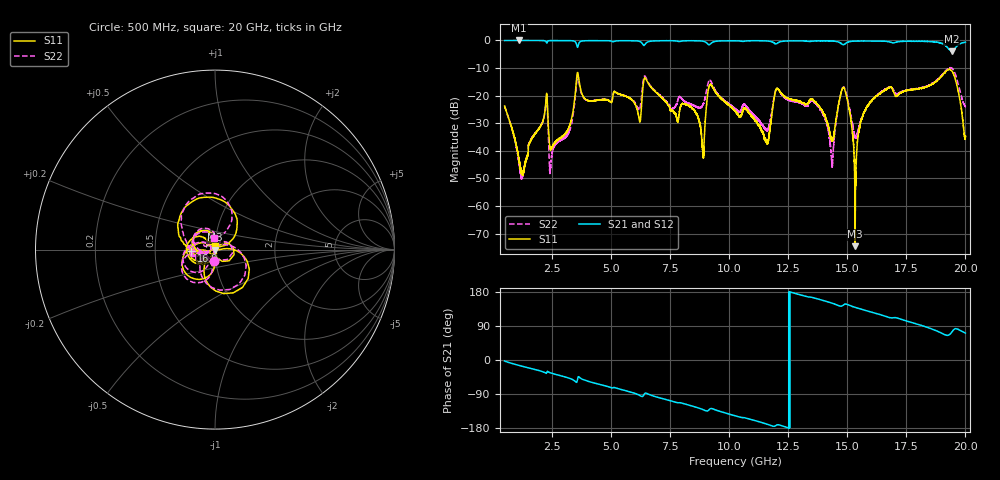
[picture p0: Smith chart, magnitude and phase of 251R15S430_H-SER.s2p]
!{251R15S430}
!Johanson Technology Inc.
!www.johansontechnology.com
!Test Board Conditions:
!Substrate Type  RO4350B
!Substrate Thickness  20 mil
!Substrate Dk  3.66
!TL Type: GCPW
!TL Trace Width  34 mil
!TL Gap  10 mil
!Electrode orientation  Horizontal
!DUT TOPOLOGY	SERIES
!Mounting Pad LxW  26x52 mil
! Created Thu Mar 12 17:14:08 2020
# mhz S ma R 50
! 2 Port Network Data from SP1.SP block
! freq  magS11  angS11  magS21  angS21  magS12  angS12  magS22  angS22
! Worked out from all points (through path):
!   19501 points, 500 MHz to 20 GHz, reference 50 ohm
!   highest |S21| = 0.00 dB at 1.11 GHz (marker M1); lowest = -3.9 dB at 19.43 GHz (marker M2)
!   group delay of S21, straight-line fit = 41.2 ps
!   lowest |S11| = -74.6 dB at 15.33 GHz (marker M3), VSWR 1.00, Z = 50 - j0.00357 ohm
!   |S11| at or under -10 dB: start of sweep to end of sweep
!   |S22| runs from -50.3 to -9.8 dB; largest |S21 - S12| = 0.016
!   S11 on the Smith chart (normalised r, x): 500 MHz: 0.99, -0.13; 16.9 GHz: 0.76, -0.01; 20 GHz: 1.00, +0.04
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500  0.06478 -93.0  0.9968 -2.7  0.9976 -2.7  0.06415 -93.4
1110  0.006858 -81.3  0.9999 -14.3  0.9984 -14.3  0.006252 -130.6
2231  0.06411 34.3  0.9802 -34.1  0.9798 -34.1  0.06102 46.4
2476  0.01085 -12.0  0.9962 -34.7  0.9962 -34.7  0.007152 110.8
3750  0.1149 -121.5  0.9725 -49.5  0.9715 -49.5  0.11 -138.3
6190  0.03864 -160.1  0.9667 -92.5  0.9677 -92.5  0.05536 -135.4
6451  0.2088 -146.5  0.8609 -87.4  0.8624 -87.4  0.2233 -143.3
7000  0.1057 162.7  0.9853 -98.8  0.9855 -98.8  0.1092 -173.8
8878  0.01121 38.1  0.9688 -130.4  0.9692 -130.4  0.06624 -124.7
9206  0.1585 -179.2  0.8616 -128.5  0.8622 -128.6  0.1882 -161.6
10250  0.05359 127.7  0.9863 -147.1  0.9853 -147.1  0.05764 143.8
11587  0.01429 143.0  0.9795 -168.9  0.9812 -168.9  0.02485 167.7
12028  0.1348 146.0  0.8827 -171.2  0.8826 -171.3  0.1348 151.9
13500  0.08571 94.3  0.9698 165.4  0.9656 165.5  0.08149 75.8
14353  0.0154 139.4  0.9752 150.0  0.9768 149.9  0.005915 112.5
14873  0.1366 133.7  0.8482 146.5  0.8438 146.6  0.1393 123.8
15334  0.0001866 -169.0  0.9711 138.9  0.9691 139.0  0.01808 130.4
15744  0.05225 -122.2  0.977 131.2  0.9742 131.4  0.05241 -160.4
16750  0.1399 -160.7  0.9502 112.9  0.9444 112.6  0.1403 -166.9
16901  0.1342 -176.3  0.9117 111.0  0.9047 111.2  0.1351 -174.7
19425  0.2801 84.4  0.6371 73.9  0.6431 74.3  0.3143 92.5
20000  0.01852 92.3  0.9304 70.9  0.9274 71.1  0.0635 94.5
